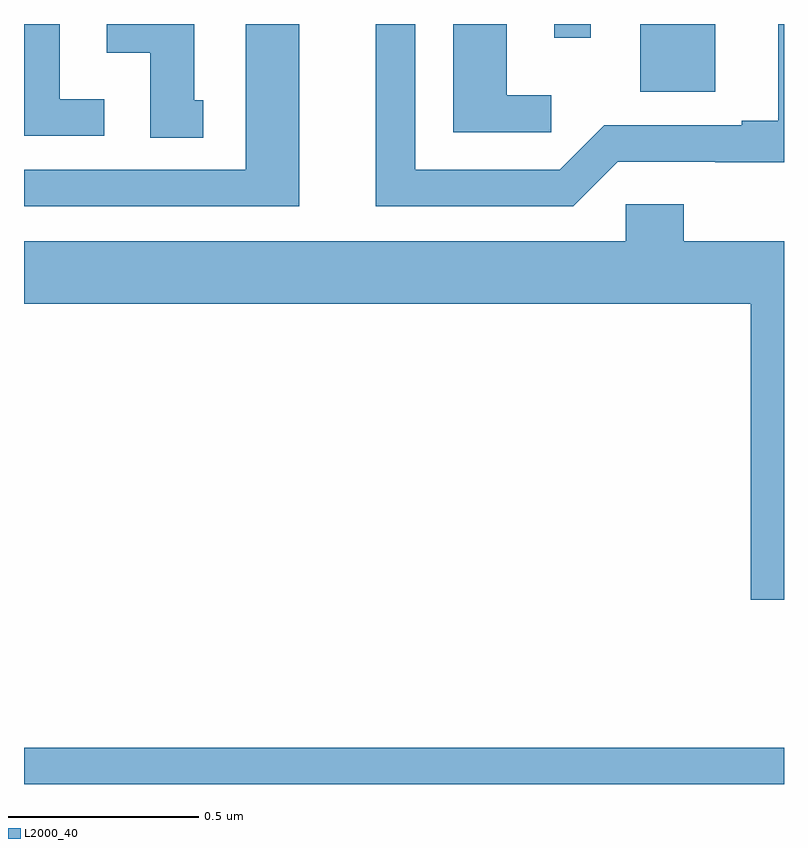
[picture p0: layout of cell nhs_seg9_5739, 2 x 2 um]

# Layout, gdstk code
import gdstk
lib = gdstk.Library(unit=1e-6, precision=1e-09)
def R(c, l, rs):  # rectangles x0, y0, x1, y1
    for r in rs: c.add(gdstk.rectangle(r[:2], r[2:], *l))
def P(c, l, *ps):  # polygons
    for p in ps: c.add(gdstk.Polygon(p, *l))
L2000_40 = (2000, 40)

nhs_seg9_5739 = lib.new_cell('nhs_seg9_5739')
R(nhs_seg9_5739, L2000_40, [(183,1184.5,185,1184.596), (184.622,1186.322,184.819,1186.5), (184.395,1186.464,184.492,1186.5)])
P(nhs_seg9_5739, L2000_40, [(183.472,1186.299),(183.448,1186.299),(183.448,1186.5),(183.218,1186.5),(183.218,1186.424),(183.332,1186.424),(183.332,1186.201),(183.472,1186.201)],
  [(184.387,1186.312),(184.27,1186.312),(184.27,1186.5),(184.13,1186.5),(184.13,1186.215),(184.387,1186.215)],
  [(183.211,1186.302),(183.094,1186.302),(183.094,1186.5),(183,1186.5),(183,1186.206),(183.211,1186.206)],
  [(184.563,1186.137),(184.819,1186.137),(184.819,1186.136),(185,1186.136),(185,1186.5),(184.985,1186.5),(184.985,1186.246),(184.889,1186.246),(184.889,1186.233),(184.527,1186.233),(184.41,1186.116),(184.03,1186.116),(184.03,1186.5),(183.926,1186.5),(183.926,1186.02),(184.446,1186.02)],
  [(183.724,1186.5),(183.584,1186.5),(183.584,1186.116),(183,1186.116),(183,1186.02),(183.724,1186.02)],
  [(185,1185.928),(184.736,1185.928),(184.736,1186.026),(184.584,1186.026),(184.584,1185.928),(183,1185.928),(183,1185.764),(184.913,1185.764),(184.913,1184.985),(185,1184.985)])

lib.write_gds('nhs_seg9_5739.gds')
